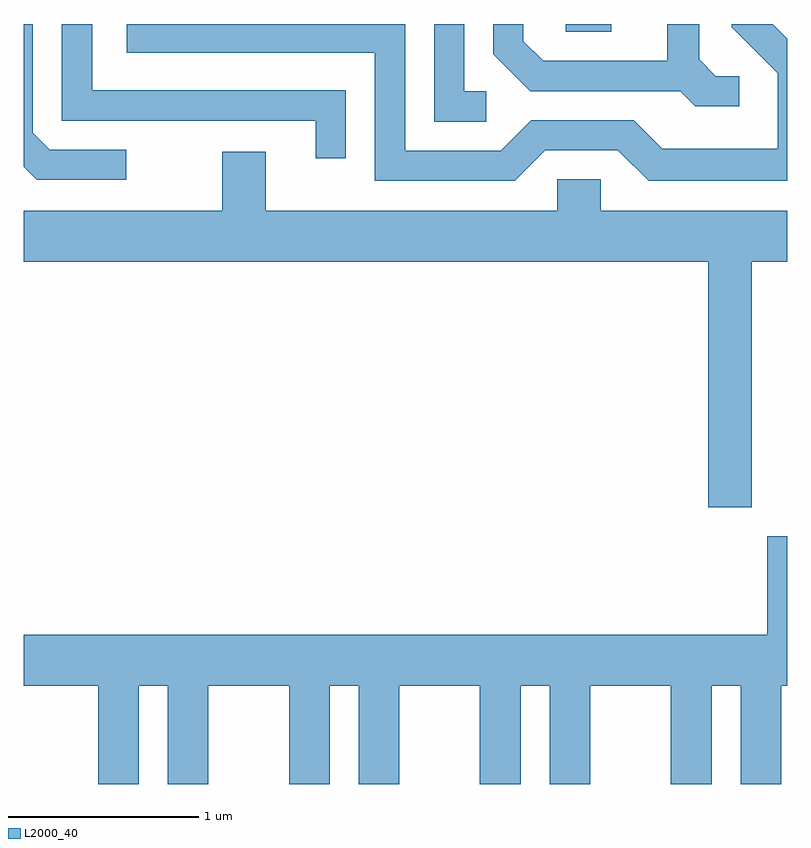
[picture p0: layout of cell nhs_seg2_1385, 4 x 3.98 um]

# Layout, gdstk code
import gdstk
lib = gdstk.Library(unit=1e-6, precision=1e-09)
def R(c, l, rs):  # rectangles x0, y0, x1, y1
    for r in rs: c.add(gdstk.rectangle(r[:2], r[2:], *l))
def P(c, l, *ps):  # polygons
    for p in ps: c.add(gdstk.Polygon(p, *l))
L2000_40 = (2000, 40)

nhs_seg2_1385 = lib.new_cell('nhs_seg2_1385')
R(nhs_seg2_1385, L2000_40, [(228.451,1031.761,228.689,1031.802)])
P(nhs_seg2_1385, L2000_40, [(228.033,1031.449),(227.919,1031.449),(227.919,1031.802),(227.761,1031.802),(227.761,1031.291),(228.033,1031.291)],
  [(226.148,1031.144),(225.747,1031.144),(225.659,1031.232),(225.659,1031.802),(225.611,1031.802),(225.611,1031.054),(225.679,1030.986),(226.148,1030.986)],
  [(229.358,1031.529),(229.237,1031.529),(229.149,1031.617),(229.149,1031.802),(228.981,1031.802),(228.981,1031.609),(228.332,1031.609),(228.229,1031.712),(228.229,1031.802),(228.071,1031.802),(228.071,1031.644),(228.264,1031.451),(229.049,1031.451),(229.129,1031.371),(229.358,1031.371)],
  [(227.299,1031.454),(225.969,1031.454),(225.969,1031.802),(225.811,1031.802),(225.811,1031.296),(227.141,1031.296),(227.141,1031.098),(227.299,1031.098)],
  [(228.342,1031.141),(228.724,1031.141),(228.884,1030.981),(229.611,1030.981),(229.611,1031.725),(229.534,1031.802),(229.321,1031.802),(229.321,1031.784),(229.561,1031.544),(229.561,1031.149),(228.957,1031.149),(228.807,1031.299),(228.269,1031.299),(228.109,1031.139),(227.609,1031.139),(227.609,1031.802),(226.151,1031.802),(226.151,1031.651),(227.451,1031.651),(227.451,1030.981),(228.182,1030.981)],
  [(229.424,1030.556),(229.611,1030.556),(229.611,1030.824),(228.634,1030.824),(228.634,1030.989),(228.406,1030.989),(228.406,1030.824),(226.879,1030.824),(226.879,1031.134),(226.651,1031.134),(226.651,1030.824),(225.611,1030.824),(225.611,1030.556),(229.196,1030.556),(229.196,1029.271),(229.424,1029.271)],
  [(226.214,1028.336),(226.366,1028.336),(226.366,1027.821),(226.579,1027.821),(226.579,1028.336),(227.001,1028.336),(227.001,1027.821),(227.214,1027.821),(227.214,1028.336),(227.366,1028.336),(227.366,1027.821),(227.579,1027.821),(227.579,1028.336),(228.001,1028.336),(228.001,1027.821),(228.214,1027.821),(228.214,1028.336),(228.366,1028.336),(228.366,1027.821),(228.579,1027.821),(228.579,1028.336),(229.001,1028.336),(229.001,1027.821),(229.214,1027.821),(229.214,1028.336),(229.366,1028.336),(229.366,1027.821),(229.579,1027.821),(229.579,1028.336),(229.611,1028.336),(229.611,1029.119),(229.506,1029.119),(229.506,1028.604),(225.611,1028.604),(225.611,1028.336),(226.001,1028.336),(226.001,1027.821),(226.214,1027.821)])

lib.write_gds('nhs_seg2_1385.gds')
